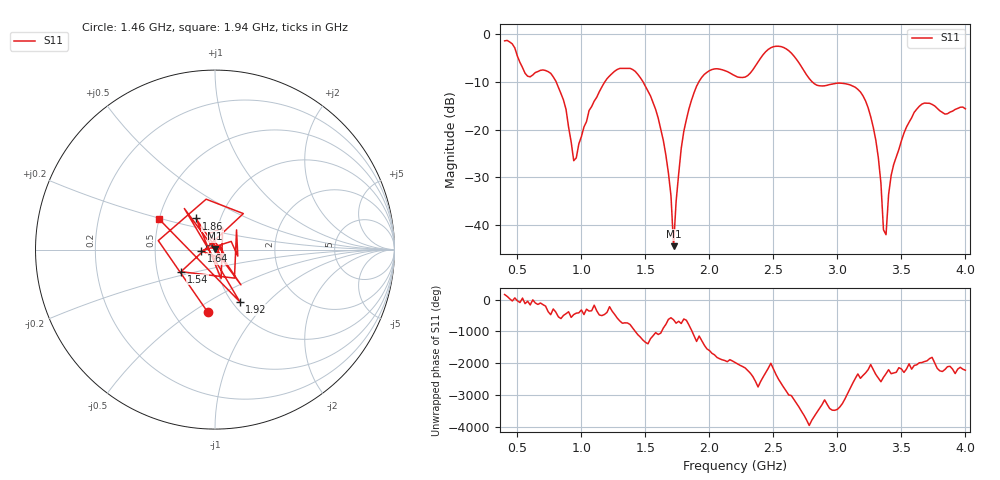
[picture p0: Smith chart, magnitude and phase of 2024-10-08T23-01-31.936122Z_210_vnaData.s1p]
! Created with skrf (http://scikit-rf.org).
# Hz S RI R 50.0
!freq ReS11 ImS11
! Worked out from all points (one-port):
!   181 points, 400 MHz to 4 GHz, reference 50 ohm
!   lowest |S11| = -44.4 dB at 1.72 GHz (marker M1), VSWR 1.01, Z = 50.1 + j0.598 ohm
!   |S11| at or under -10 dB: 802.9 MHz to 1.182 GHz (379.4 MHz wide, 38.2 % of centre); 1.482 GHz to 1.917 GHz (435.2 MHz wide, 25.6 % of centre); 2.804 GHz to end of sweep
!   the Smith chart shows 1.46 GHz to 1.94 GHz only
!   S11 on the Smith chart (normalised r, x): 1.46 GHz: 0.73, -0.58; 1.54 GHz: 0.66, -0.17; 1.64 GHz: 0.86, -0.01; 1.86 GHz: 0.76, +0.28; 1.92 GHz: 1.08, -0.70; 1.94 GHz: 0.50, +0.19
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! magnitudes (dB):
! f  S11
! 400 MHz  -1.4
! 760 MHz  -8.2
! 860 MHz  -13.8
! 940 MHz  -26.5
! 1.06 GHz  -16.0
! 1.3 GHz  -7.2
! 1.46 GHz  -9.1
! 1.54 GHz  -12.9
! 1.64 GHz  -22.3
! 1.7 GHz  -33.9
! 1.72 GHz  -44.4
! 1.76 GHz  -29.3
! 1.86 GHz  -13.8
! 1.92 GHz  -9.9
! 1.94 GHz  -9.0
! 2.2 GHz  -8.7
! 2.5 GHz  -2.6
! 2.66 GHz  -4.6
! 2.84 GHz  -10.7
! 3.1 GHz  -10.6
! 3.28 GHz  -19.5
! 3.34 GHz  -31.2
! 3.36 GHz  -41.0
! 3.38 GHz  -42.0
! 3.42 GHz  -29.6
! 3.56 GHz  -18.4
! 3.68 GHz  -14.4
! 4 GHz  -15.6
